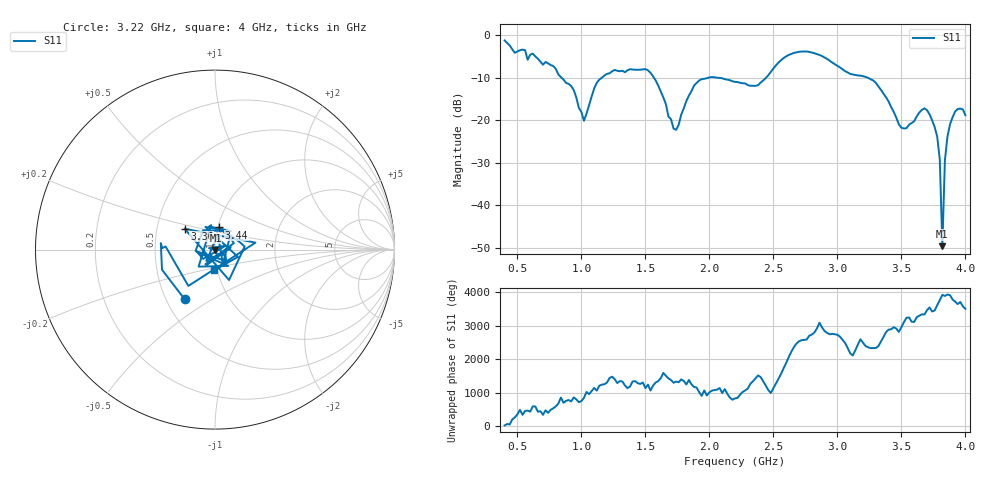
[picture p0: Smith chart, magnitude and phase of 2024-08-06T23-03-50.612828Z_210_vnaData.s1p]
!Created with skrf (http://scikit-rf.org).
# Hz S RI R 50.0
!freq ReS11 ImS11
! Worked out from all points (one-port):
!   181 points, 400 MHz to 4 GHz, reference 50 ohm
!   lowest |S11| = -49.7 dB at 3.82 GHz (marker M1), VSWR 1.01, Z = 50.3 - j0.188 ohm
!   |S11| at or under -10 dB: 1.567 GHz to 1.989 GHz (421.8 MHz wide, 23.7 % of centre); 2.07 GHz to 2.442 GHz (371.6 MHz wide, 16.5 % of centre); 3.239 GHz to end of sweep (the widest 3 of 4)
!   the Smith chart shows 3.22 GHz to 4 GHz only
!   S11 on the Smith chart (normalised r, x): 3.22 GHz: 0.62, -0.38; 3.36 GHz: 0.69, +0.17; 3.44 GHz: 1.01, +0.25; 4 GHz: 0.97, -0.22
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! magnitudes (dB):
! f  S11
! 400 MHz  -1.2
! 860 MHz  -10.4
! 940 MHz  -12.9
! 1.02 GHz  -20.1
! 1.12 GHz  -11.2
! 1.3 GHz  -8.4
! 1.52 GHz  -8.2
! 1.6 GHz  -11.8
! 1.72 GHz  -22.0
! 1.76 GHz  -21.1
! 1.92 GHz  -10.6
! 2.2 GHz  -11.0
! 2.38 GHz  -11.7
! 2.66 GHz  -4.1
! 3.1 GHz  -9.1
! 3.22 GHz  -9.8
! 3.36 GHz  -13.7
! 3.44 GHz  -18.0
! 3.5 GHz  -21.8
! 3.56 GHz  -21.0
! 3.68 GHz  -17.2
! 3.76 GHz  -21.6
! 3.8 GHz  -29.3
! 3.82 GHz  -49.7
! 3.84 GHz  -29.4
! 3.86 GHz  -23.8
! 3.92 GHz  -17.9
! 4 GHz  -18.8
